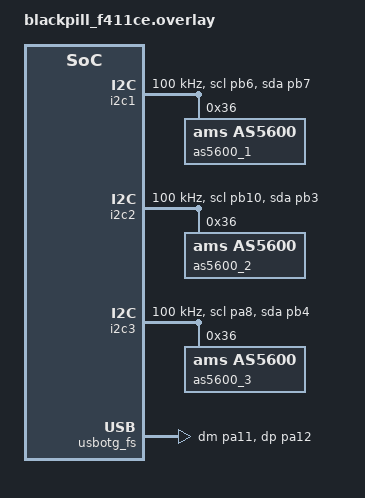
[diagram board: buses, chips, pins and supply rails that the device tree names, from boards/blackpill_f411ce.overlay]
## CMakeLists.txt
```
# SPDX-License-Identifier: Apache-2.0

cmake_minimum_required(VERSION 3.20.0)

# Point to the pre-built libmicroros from micro_ros_zephyr_module
set(LIBMICROROS_DIR /home/naj/zephyrproject/micro_ros_zephyr_module/modules/libmicroros)

list(APPEND ZEPHYR_EXTRA_MODULES ${LIBMICROROS_DIR})

find_package(Zephyr REQUIRED HINTS $ENV{ZEPHYR_BASE})
project(as5600_publisher)

target_sources(app PRIVATE src/main.c )
```

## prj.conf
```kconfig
CONFIG_GPIO=y
CONFIG_I2C=y
CONFIG_I2C_STM32=y

CONFIG_SENSOR=y
CONFIG_AMS_AS5600=y

CONFIG_MICROROS=y
CONFIG_CPP=y

CONFIG_MAIN_STACK_SIZE=25000
CONFIG_MAIN_THREAD_PRIORITY=3

CONFIG_NEWLIB_LIBC=y
CONFIG_NEWLIB_LIBC_FLOAT_PRINTF=n

CONFIG_STDOUT_CONSOLE=y
CONFIG_LOG=y
CONFIG_SERIAL=y
CONFIG_UART_INTERRUPT_DRIVEN=y
CONFIG_UART_LINE_CTRL=y

CONFIG_POSIX_API=y
CONFIG_POSIX_TIMERS=y
CONFIG_POSIX_CLOCK_SELECTION=y
CONFIG_POSIX_MONOTONIC_CLOCK=y
CONFIG_NEWLIB_LIBC=y
CONFIG_NEWLIB_LIBC_FLOAT_PRINTF=y

CONFIG_HEAP_MEM_POOL_SIZE=16384

# USB CDC ACM configuration
CONFIG_USB_DEVICE_STACK=y
CONFIG_USB_DEVICE_PRODUCT="STM32 CDC"
CONFIG_USB_DEVICE_VID=0x0483
CONFIG_USB_DEVICE_PID=0x5740
CONFIG_USB_CDC_ACM=y
CONFIG_USB_CDC_ACM_RINGBUF_SIZE=256

# Console
CONFIG_CONSOLE=y
CONFIG_UART_CONSOLE=y
CONFIG_MICROROS_TRANSPORT_SERIAL_USB=y
```

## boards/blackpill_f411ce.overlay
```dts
/*
 * Device tree overlay for STM32F411 Black Pill with 3 AS5600 encoders
 * for micro-ROS as5600_publisher application using USB CDC ACM
 */

&i2c1 {
    status = "okay";
    pinctrl-0 = <&i2c1_scl_pb6 &i2c1_sda_pb7>;
    pinctrl-names = "default";
    clock-frequency = <100000>;

    as5600_1: as5600@36 {
        compatible = "ams,as5600";
        status = "okay";
        reg = <0x36>;
    };
};

&i2c2 {
    pinctrl-0 = <&i2c2_scl_pb10 &i2c2_sda_pb3>;
    pinctrl-names = "default";
    status = "okay";
    clock-frequency = <100000>;

    as5600_2: as5600@36 {
        compatible = "ams,as5600";
        status = "okay";
        reg = <0x36>;
    };
};

&i2c3 {
    pinctrl-0 = <&i2c3_scl_pa8 &i2c3_sda_pb4>;
    pinctrl-names = "default";
    status = "okay";
    clock-frequency = <100000>;

    as5600_3: as5600@36 {
        compatible = "ams,as5600";
        status = "okay";
        reg = <0x36>;
    };
};


/ {
    chosen {
        zephyr,console = &cdc_acm_uart0;
        zephyr,shell-uart = &cdc_acm_uart0;
    };
};

&usbotg_fs {
    pinctrl-0 = <&usb_otg_fs_dm_pa11 &usb_otg_fs_dp_pa12>;
    pinctrl-names = "default";
    status = "okay";
};

&usbotg_fs {
    cdc_acm_uart0: cdc_acm_uart0 {
        compatible = "zephyr,cdc-acm-uart";
        label = "CDC_ACM_0";
    };
};
```

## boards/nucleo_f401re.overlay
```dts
/*
 * Device tree overlay for STM32F401RE Nucleo with 3 AS5600 encoders
 * for micro-ROS as5600_publisher application using USB CDC ACM
 */

&i2c1 {
    status = "okay";

    as5600_1: as5600@36 {
        compatible = "ams,as5600";
        status = "okay";
        reg = <0x36>;
    };
};

&i2c2 {
    pinctrl-0 = <&i2c2_scl_pb10 &i2c2_sda_pb3>;
    pinctrl-names = "default";
    status = "okay";
    clock-frequency = <100000>;

    as5600_2: as5600@36 {
        compatible = "ams,as5600";
        status = "okay";
        reg = <0x36>;
    };
};

&i2c3 {
    status = "okay";

    as5600_3: as5600@36 {
        compatible = "ams,as5600";
        status = "okay";
        reg = <0x36>;
    };
};
```

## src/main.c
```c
#include <version.h>

#if ZEPHYR_VERSION_CODE >= ZEPHYR_VERSION(3,1,0)
#include <zephyr/kernel.h>
#include <zephyr/device.h>
#include <zephyr/devicetree.h>
#include <zephyr/drivers/gpio.h>
#include <zephyr/drivers/sensor.h>
#include <zephyr/posix/sys/time.h>
#include <zephyr/drivers/uart.h>
#include <zephyr/drivers/uart/cdc_acm.h>
#include <zephyr/logging/log.h>
LOG_MODULE_REGISTER(microros_main, LOG_LEVEL_DBG);
#include <zephyr/usb/usb_device.h>
#else
#include <zephyr.h>
#include <device.h>
#include <devicetree.h>
#include <drivers/gpio.h>
#include <drivers/sensor.h>
#include <posix/sys/time.h>
#endif

#include <rcl/rcl.h>
#include <rcl/error_handling.h>
#include <rclc/rclc.h>
#include <rclc/executor.h>

#include <rmw_microros/rmw_microros.h>
#include <microros_transports.h>

#include <std_msgs/msg/float32.h>

#include <stdio.h>
#include <string.h>
#include <stdlib.h>

#define RCCHECK(fn) { rcl_ret_t temp_rc = fn; if((temp_rc != RCL_RET_OK)){printf("Failed status on line %d: %d. Aborting.\n",__LINE__,(int)temp_rc); for(;;){} }}
#define RCSOFTCHECK(fn) { rcl_ret_t temp_rc = fn; if((temp_rc != RCL_RET_OK)){printf("Failed status on line %d: %d. Continuing.\n",__LINE__,(int)temp_rc);}}

#define AS5600_1 DT_NODELABEL(as5600_1)
#define AS5600_2 DT_NODELABEL(as5600_2)
#define AS5600_3 DT_NODELABEL(as5600_3)

static struct sensor_value encoder1_angle;
static struct sensor_value encoder2_angle;
static struct sensor_value encoder3_angle;

rcl_publisher_t angle_publisher[3];
std_msgs__msg__Float32 angle_msg[3];

void angle_timer_callback(rcl_timer_t * timer, int64_t last_call_time)
{
	(void) last_call_time;

	if (timer != NULL) {
		const struct device *as5600_1_dev = DEVICE_DT_GET(AS5600_1);
		const struct device *as5600_2_dev = DEVICE_DT_GET(AS5600_2);
		const struct device *as5600_3_dev = DEVICE_DT_GET(AS5600_3);

		sensor_sample_fetch(as5600_1_dev);
		sensor_channel_get(as5600_1_dev, SENSOR_CHAN_ROTATION, &encoder1_angle);

		sensor_sample_fetch(as5600_2_dev);
		sensor_channel_get(as5600_2_dev, SENSOR_CHAN_ROTATION, &encoder2_angle);

		sensor_sample_fetch(as5600_3_dev);
		sensor_channel_get(as5600_3_dev, SENSOR_CHAN_ROTATION, &encoder3_angle);

		float enc1 = (float)encoder1_angle.val1 + (float)encoder1_angle.val2 / 1000000.0f;
		float enc2 = (float)encoder2_angle.val1 + (float)encoder2_angle.val2 / 1000000.0f;
		float enc3 = (float)encoder3_angle.val1 + (float)encoder3_angle.val2 / 1000000.0f;

		angle_msg[0].data = enc1;
		angle_msg[1].data = enc2;
		angle_msg[2].data = enc3;

		RCSOFTCHECK(rcl_publish(&angle_publisher[0], (const void*)&angle_msg[0], NULL));
		RCSOFTCHECK(rcl_publish(&angle_publisher[1], (const void*)&angle_msg[1], NULL));
		RCSOFTCHECK(rcl_publish(&angle_publisher[2], (const void*)&angle_msg[2], NULL));
		printf("Published encoder1 angle: %.2f\n", enc1);
		printf("Published encoder2 angle: %.2f\n", enc2);
		printf("Published encoder3 angle: %.2f\n", enc3);
	}
}

int main(void)
{
	rmw_uros_set_custom_transport(
		MICRO_ROS_FRAMING_REQUIRED,
		(void *) &default_params,
		zephyr_transport_open,
		zephyr_transport_close,
		zephyr_transport_write,
		zephyr_transport_read
	);

	rcl_allocator_t allocator = rcl_get_default_allocator();
	rclc_support_t support;

	RCCHECK(rclc_support_init(&support, 0, NULL, &allocator));

	rcl_node_t node;
	RCCHECK(rclc_node_init_default(&node, "as5600_publisher_node", "", &support));

	RCCHECK(rclc_publisher_init_default(&angle_publisher[0], &node, ROSIDL_GET_MSG_TYPE_SUPPORT(std_msgs, msg, Float32), "/encoder1/angle"));
	RCCHECK(rclc_publisher_init_default(&angle_publisher[1], &node, ROSIDL_GET_MSG_TYPE_SUPPORT(std_msgs, msg, Float32), "/encoder2/angle"));
	RCCHECK(rclc_publisher_init_default(&angle_publisher[2], &node, ROSIDL_GET_MSG_TYPE_SUPPORT(std_msgs, msg, Float32), "/encoder3/angle"));
	LOG_INF("Starting AS5600 angle publisher application...");

	rcl_timer_t timer;
	RCCHECK(rclc_timer_init_default(&timer, &support, RCL_MS_TO_NS(1000), angle_timer_callback));

	rclc_executor_t executor = rclc_executor_get_zero_initialized_executor();
	RCCHECK(rclc_executor_init(&executor, &support.context, 1, &allocator));
	RCCHECK(rclc_executor_add_timer(&executor, &timer));

	rclc_executor_spin(&executor);

	for (int i = 0; i < 3; i++) {
		RCCHECK(rcl_publisher_fini(&angle_publisher[i], &node));
	}
	RCCHECK(rcl_node_fini(&node));

	return 0;
}
```
